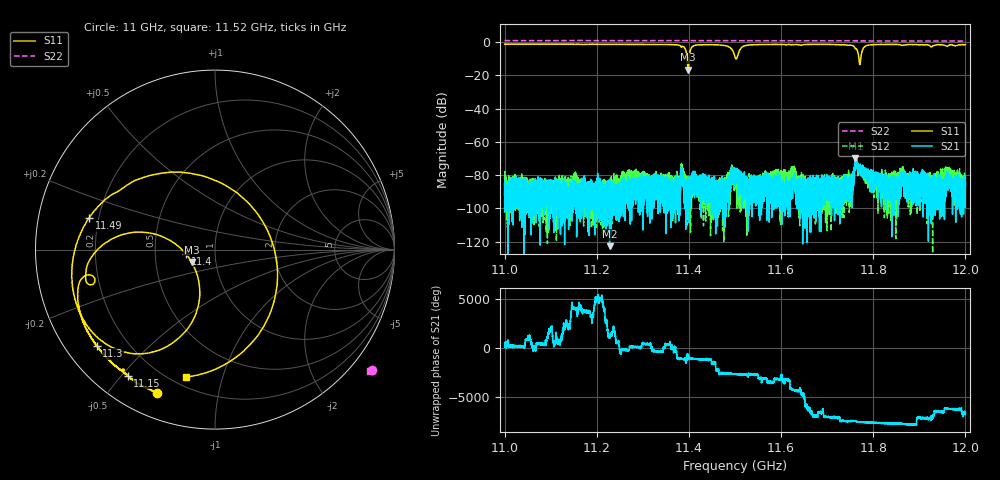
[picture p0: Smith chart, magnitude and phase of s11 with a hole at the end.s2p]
!Agilent Technologies,E8362C,MY49020356,A.09.42.23
!Agilent E8362C: A.09.42.23
!Date: Saturday, September 11, 2021 01:49:26
!Correction: S11(Full 2 Port(1,2))
!S21(Full 2 Port(1,2))
!S12(Full 2 Port(1,2))
!S22(Full 2 Port(1,2))
!S2P File: Measurements: S11, S21, S12, S22:
# Hz S  MA  R 50
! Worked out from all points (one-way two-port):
!   12801 points, 11 GHz to 12 GHz, reference 50 ohm
!   highest |S21| = -69.99 dB at 11.76 GHz (marker M1); lowest = -122.7 dB at 11.23 GHz (marker M2)
!   lowest |S11| = -16.6 dB at 11.4 GHz (marker M3), VSWR 1.35, Z = 38.1 - j5.35 ohm
!   |S11| at or under -10 dB: 11.39603 GHz to 11.40012 GHz (4.091 MHz wide, 0.0359 % of centre); 11.5016 GHz to 11.50346 GHz (1.857 MHz wide, 0.0161 % of centre); 11.76896 GHz to 11.77288 GHz (3.92 MHz wide, 0.0333 % of centre)
!   |S22| runs from 0.5 to 0.9 dB; largest |S21 - S12| = 0.00019
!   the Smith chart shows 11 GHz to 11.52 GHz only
!   S11 on the Smith chart (normalised r, x): 11 GHz: 0.11, -0.67; 11.15 GHz: 0.10, -0.52; 11.3 GHz: 0.09, -0.35; 11.4 GHz: 0.72, -0.03; 11.49 GHz: 0.16, +0.12; 11.52 GHz: 0.25, -0.76
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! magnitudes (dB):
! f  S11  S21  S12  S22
! 11 GHz  -1.3  -85.6  -102.6  0.9
! 11.15 GHz  -1.4  -90.1  -101.9  0.9
! 11.17 GHz  -1.4  -93.0  -87.3  0.9
! 11.23 GHz  -1.4  -122.7  -97.1  0.9
! 11.3 GHz  -1.4  -83.0  -82.8  0.9
! 11.33 GHz  -1.5  -103.2  -85.2  0.8
! 11.39 GHz  -2.7  -84.1  -78.3  0.9
! 11.4 GHz  -15.7  -87.2  -92.0  0.9
! 11.4 GHz  -16.6  -92.6  -93.6  0.8
! 11.41 GHz  -3.1  -85.9  -90.3  0.9
! 11.41 GHz  -2.0  -83.3  -81.5  0.8
! 11.49 GHz  -2.8  -96.4  -80.5  0.8
! 11.5 GHz  -8.9  -81.1  -86.0  0.8
! 11.52 GHz  -2.7  -88.6  -86.8  0.8
! 11.63 GHz  -1.5  -82.5  -80.8  0.8
! 11.67 GHz  -1.5  -87.4  -84.2  0.7
! 11.75 GHz  -2.0  -85.6  -88.3  0.7
! 11.76 GHz  -4.2  -70.0  -69.5  0.7
! 11.77 GHz  -13.6  -75.6  -76.3  0.7
! 11.79 GHz  -2.2  -78.2  -80.8  0.7
! 11.83 GHz  -1.4  -85.1  -79.6  0.6
! 12 GHz  -1.6  -86.1  -81.3  0.5
